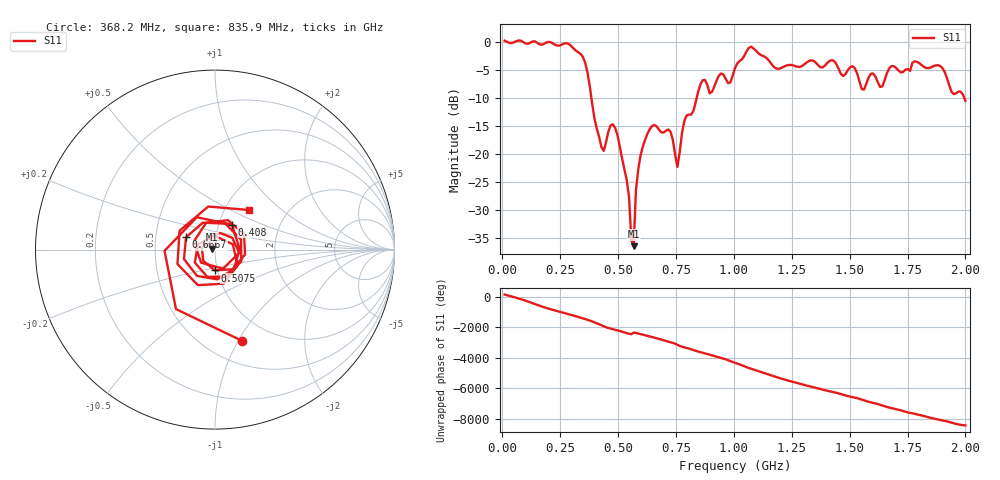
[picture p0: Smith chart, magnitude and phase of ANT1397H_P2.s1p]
!Created with skrf (http://scikit-rf.org).
# Hz S RI R 50.0
!freq ReS11 ImS11
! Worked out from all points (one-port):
!   201 points, 10 MHz to 2 GHz, reference 50 ohm
!   lowest |S11| = -36.5 dB at 567.2 MHz (marker M1), VSWR 1.03, Z = 48.6 + j0.287 ohm
!   |S11| at or under -10 dB: 384.7 MHz to 839.8 MHz (455.1 MHz wide, 74.3 % of centre); 1.994995 GHz to end of sweep
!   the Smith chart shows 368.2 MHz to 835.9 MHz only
!   S11 on the Smith chart (normalised r, x): 368.2 MHz: 0.73, -1.03; 408 MHz: 1.16, +0.33; 507.5 MHz: 0.97, -0.23; 666.7 MHz: 0.72, +0.10; 835.9 MHz: 1.30, +0.63
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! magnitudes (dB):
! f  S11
! 10 MHz  0.2
! 258.8 MHz  -0.5
! 368.2 MHz  -5.5
! 408 MHz  -15.5
! 437.9 MHz  -19.5
! 477.6 MHz  -14.7
! 507.5 MHz  -18.7
! 537.4 MHz  -24.7
! 547.3 MHz  -27.7
! 557.2 MHz  -35.4
! 567.2 MHz  -36.5
! 577.1 MHz  -26.5
! 597 MHz  -20.3
! 666.7 MHz  -15.1
! 726.4 MHz  -16.0
! 756.2 MHz  -22.3
! 786.1 MHz  -14.2
! 835.9 MHz  -10.7
! 865.7 MHz  -6.9
! 895.5 MHz  -9.2
! 1.005 GHz  -4.7
! 1.075 GHz  -0.9
! 1.254 GHz  -4.2
! 1.502 GHz  -4.5
! 1.562 GHz  -8.5
! 1.751 GHz  -4.9
! 1.891 GHz  -4.3
! 2 GHz  -10.5
